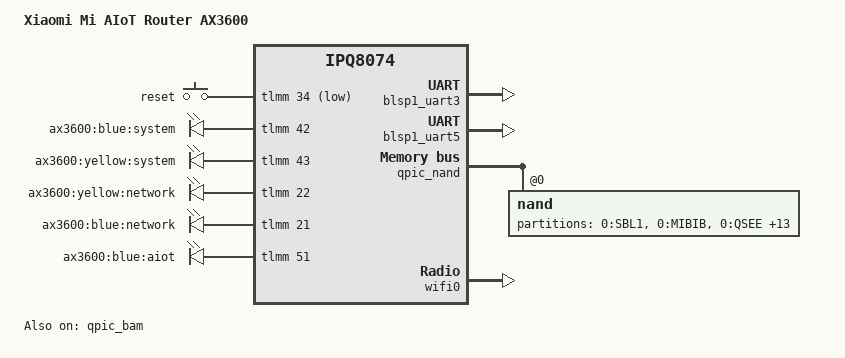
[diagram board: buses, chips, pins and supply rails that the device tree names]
// SPDX-License-Identifier: GPL-2.0-only
/dts-v1/;

#include "ipq8074.dtsi"
#include <dt-bindings/gpio/gpio.h>
#include <dt-bindings/input/input.h>

/ {
	#address-cells = <0x2>;
	#size-cells = <0x2>;
	model = "Xiaomi Mi AIoT Router AX3600";
	compatible = "xiaomi,ax3600", "qcom,ipq8074";
	interrupt-parent = <&intc>;

	aliases {
		serial0 = &blsp1_uart5;
		serial1 = &blsp1_uart3;
		led-boot = &led_system_yellow;
		led-failsafe = &led_system_yellow;
		led-running = &led_system_blue;
		led-upgrade = &led_system_yellow;
	};

	chosen {
		stdout-path = "serial0:115200n8";
		bootargs-append = " swiotlb=1";
	};

	reserved-memory {
		ranges;
		#address-cells = <0x2>;
		#size-cells = <0x2>;

		tz@4ac00000 {
			reg = <0x0 0x4ac00000 0x0 0x400000>;
			no-map;
		};

		wcnss@4b000000 {
			reg = <0x0 0x4b000000 0x0 0x3700000>;
			no-map;
		};

		rsvd2@50b00000 {
			reg = <0x0 0x50b00000 0x0 0x400000>;
			no-map;
		};

		wifi_dump@50500000 {
			reg = <0x0 0x50500000 0x0 0x200000>;
			no-map;
		};

		rsvd1@50700000 {
			reg = <0x0 0x50700000 0x0 0x400000>;
			no-map;
		};

		q6_etr_dump@4e700000 {
			reg = <0x0 0x4e700000 0x0 0x100000>;
			no-map;
		};

		sbl@4aa00000 {
			reg = <0x0 0x4aa00000 0x0 0x100000>;
			no-map;
		};

		uboot@4a600000 {
			reg = <0x0 0x4a600000 0x0 0x400000>;
			no-map;
		};

		nss@40000000 {
			reg = <0x0 0x40000000 0x0 0x1000000>;
			no-map;
		};
	};

	keys {
		compatible = "gpio-keys";
		pinctrl-0 = <&button_pins>;
		pinctrl-names = "default";

		reset {
			label = "reset";
			gpios = <&tlmm 34 GPIO_ACTIVE_LOW>;
			linux,code = <KEY_RESTART>;
		};
	};

	leds {
		compatible = "gpio-leds";
		pinctrl-0 = <&led_pins>;
		pinctrl-names = "default";

		led_system_blue: system-blue {
			label = "ax3600:blue:system";
			gpios = <&tlmm 42 GPIO_ACTIVE_HIGH>;
		};

		led_system_yellow: system-yellow {
			label = "ax3600:yellow:system";
			gpios = <&tlmm 43 GPIO_ACTIVE_HIGH>;
		};

		network-yellow {
			label = "ax3600:yellow:network";
			gpios = <&tlmm 22 GPIO_ACTIVE_HIGH>;
		};

		network-blue {
			label = "ax3600:blue:network";
			gpios = <&tlmm 21 GPIO_ACTIVE_HIGH>;
		};

		aiot {
			label = "ax3600:blue:aiot";
			gpios = <&tlmm 51 GPIO_ACTIVE_HIGH>;
		};
	};
};

&blsp1_uart3 {
	status = "okay";
};

&blsp1_uart5 {
	status = "okay";
};

&qpic_bam {
	status = "okay";
};

&qpic_nand {
	status = "okay";

	nand@0 {
		reg = <0>;
		nand-ecc-strength = <4>;
		nand-ecc-step-size = <512>;
		nand-bus-width = <8>;

		partitions {
			compatible = "fixed-partitions";
			#address-cells = <1>;
			#size-cells = <1>;

			partition@0 {
				label = "0:SBL1";
				reg = <0x00000000 0x100000>;
				read-only;
			};

			partition@100000 {
				label = "0:MIBIB";
				reg = <0x00100000 0x100000>;
				read-only;
			};

			partition@200000 {
				label = "0:QSEE";
				reg = <0x00200000 0x300000>;
				read-only;
			};

			partition@500000 {
				label = "0:DEVCFG";
				reg = <0x00500000 0x80000>;
				read-only;
			};

			partition@580000 {
				label = "0:RPM";
				reg = <0x00580000 0x80000>;
				read-only;
			};

			partition@600000 {
				label = "0:CDT";
				reg = <0x00600000 0x80000>;
				read-only;
			};

			partition@680000 {
				label = "0:APPSBLENV";
				reg = <0x00680000 0x80000>;
			};

			partition@700000 {
				label = "0:APPSBL";
				reg = <0x00700000 0x100000>;
				read-only;
			};

			partition@800000 {
				label = "0:ART";
				reg = <0x00800000 0x80000>;
				read-only;
			};

			partition@880000 {
				label = "bdata";
				reg = <0x00880000 0x80000>;
				read-only;
			};

			partition@900000 {
				label = "crash";
				reg = <0x00900000 0x80000>;
				read-only;
			};

			partition@980000 {
				label = "crash_syslog";
				reg = <0x00980000 0x80000>;
				read-only;
			};

			partition@a00000 {
				label = "rootfs";
				reg = <0x00a00000 0x23c0000>;
			};

			partition@2dc0000 {
				label = "rootfs_1";
				reg = <0x02dc0000 0x23c0000>;
			};

			partition@5180000 {
				label = "overlay";
				reg = <0x05180000 0x1ec0000>;
			};

			partition@7040000 {
				label = "rsvd0";
				reg = <0x07040000 0x80000>;
			};
		};
	};
};

&wifi0 {
	status = "okay";
};

&tlmm {
	button_pins: button-pins {
		pins = "gpio34";
		function = "gpio";
		bias-pull-up;
		drive-strength = <8>;
	};

	led_pins: led-pins {
		pins = "gpio21", "gpio22", "gpio42", "gpio43", "gpio51";
		function = "gpio";
		bias-pull-down;
		drive-strength = <8>;
	};
};
